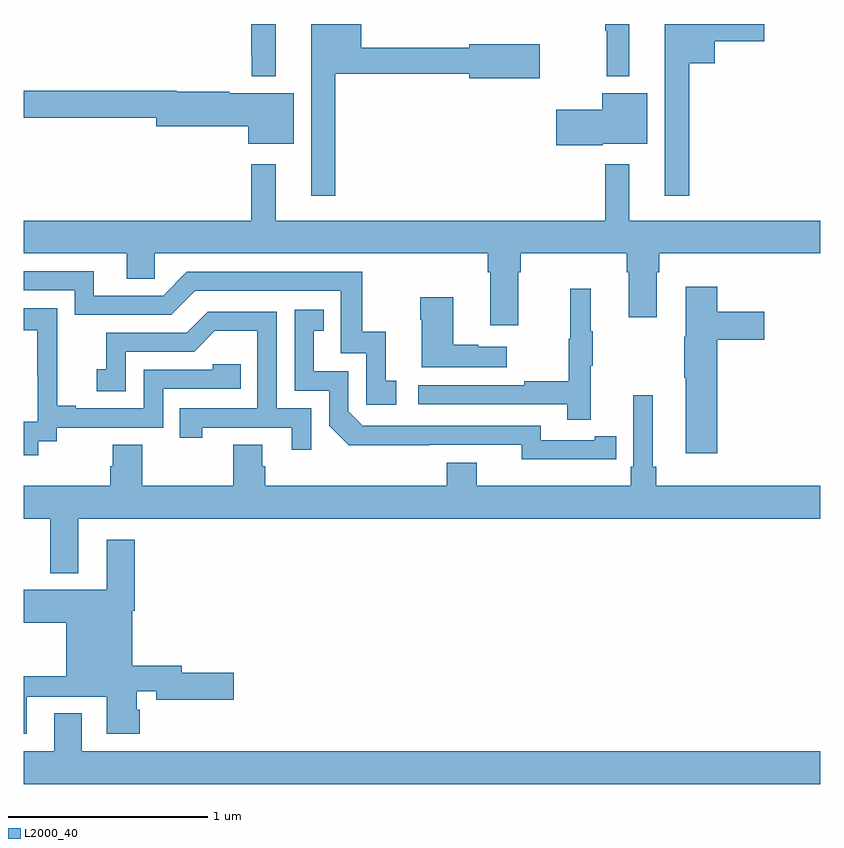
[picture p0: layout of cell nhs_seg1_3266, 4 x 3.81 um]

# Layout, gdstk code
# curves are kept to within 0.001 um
import gdstk
lib = gdstk.Library(unit=1e-6, precision=1e-09)
def P(c, l, *ps):  # polygons
    for p in ps: c.add(gdstk.Polygon(p, *l))
L2000_40 = (2000, 40)

nhs_seg1_3266 = lib.new_cell('nhs_seg1_3266')
P(nhs_seg1_3266, L2000_40, [(290.341,570.002),(290.47,570.002),(290.47,570.113),(290.719,570.113),(290.719,570.199),(290.219,570.199),(290.219,569.337),(290.341,569.337)],
  [(288.565,569.95),(289.238,569.95),(289.238,569.927),(289.591,569.927),(289.591,570.097),(289.238,570.097),(289.238,570.079),(288.694,570.079),(288.694,570.199),(288.443,570.199),(288.443,569.337),(288.565,569.337)],
  [(290.041,570.199),(289.92,570.199),(289.92,570.164),(289.927,570.164),(289.927,569.936),(290.041,569.936)],
  [(288.265,570.199),(288.144,570.199),(288.144,570.043),(288.145,570.043),(288.145,569.936),(288.265,569.936)],
  [(288.355,569.851),(288.032,569.851),(288.032,569.858),(287.77,569.858),(287.77,569.864),(287,569.864),(287,569.728),(287.666,569.728),(287.666,569.686),(288.128,569.686),(288.128,569.597),(288.355,569.597)],
  [(289.908,569.597),(290.131,569.597),(290.131,569.851),(289.904,569.851),(289.904,569.768),(289.674,569.768),(289.674,569.59),(289.908,569.59)],
  [(289.483,568.952),(289.496,568.952),(289.496,569.048),(290.027,569.048),(290.027,568.952),(290.039,568.952),(290.039,568.728),(290.179,568.728),(290.179,568.952),(290.192,568.952),(290.192,569.048),(291,569.048),(291,569.212),(290.041,569.212),(290.041,569.494),(289.92,569.494),(289.92,569.212),(288.265,569.212),(288.265,569.494),(288.144,569.494),(288.144,569.212),(287,569.212),(287,569.048),(287.519,569.048),(287.519,568.921),(287.658,568.921),(287.658,569.048),(289.331,569.048),(289.331,568.952),(289.343,568.952),(289.343,568.686),(289.483,568.686)],
  [(288.871,568.407),(288.818,568.407),(288.818,568.654),(288.7,568.654),(288.7,568.956),(287.82,568.956),(287.7,568.836),(287.353,568.836),(287.353,568.959),(287,568.959),(287,568.863),(287.256,568.863),(287.256,568.74),(287.742,568.74),(287.862,568.86),(288.591,568.86),(288.591,568.545),(288.72,568.545),(288.72,568.287),(288.871,568.287)],
  [(290.483,568.613),(290.719,568.613),(290.719,568.755),(290.483,568.755),(290.483,568.879),(290.324,568.879),(290.324,568.629),(290.317,568.629),(290.317,568.423),(290.324,568.423),(290.324,568.044),(290.483,568.044)],
  [(289.847,568.483),(289.858,568.483),(289.858,568.657),(289.847,568.657),(289.847,568.87),(289.744,568.87),(289.744,568.62),(289.737,568.62),(289.737,568.406),(289.513,568.406),(289.513,568.386),(288.981,568.386),(288.981,568.29),(289.729,568.29),(289.729,568.212),(289.847,568.212)],
  [(289.426,568.579),(289.283,568.579),(289.283,568.589),(289.156,568.589),(289.156,568.828),(288.991,568.828),(288.991,568.715),(288.998,568.715),(288.998,568.475),(289.426,568.475)],
  [(287.074,568.105),(287.166,568.105),(287.166,568.173),(287.7,568.173),(287.7,568.368),(288.089,568.368),(288.089,568.491),(287.949,568.491),(287.949,568.464),(287.604,568.464),(287.604,568.269),(287.263,568.269),(287.263,568.282),(287.168,568.282),(287.168,568.565),(287.169,568.565),(287.169,568.771),(287,568.771),(287,568.661),(287.069,568.661),(287.069,568.433),(287.07,568.433),(287.07,568.203),(287,568.203),(287,568.035),(287.074,568.035)],
  [(289.868,568.014),(289.976,568.014),(289.976,568.13),(289.868,568.13),(289.868,568.11),(289.596,568.11),(289.596,568.182),(288.702,568.182),(288.63,568.254),(288.63,568.455),(288.457,568.455),(288.457,568.659),(288.506,568.659),(288.506,568.765),(288.36,568.765),(288.36,568.359),(288.534,568.359),(288.534,568.182),(288.632,568.085),(289.5,568.086),(289.5,568.013)],
  [(288.444,568.269),(288.27,568.269),(288.27,568.755),(287.924,568.755),(287.819,568.65),(287.416,568.65),(287.416,568.465),(287.367,568.465),(287.367,568.356),(287.514,568.356),(287.514,568.554),(287.856,568.554),(287.96,568.658),(288.174,568.658),(288.174,568.269),(287.785,568.269),(287.785,568.122),(287.896,568.122),(287.896,568.173),(288.347,568.173),(288.347,568.062),(288.444,568.062)],
  [(287.275,567.716),(291,567.716),(291,567.88),(290.177,567.88),(290.177,567.976),(290.158,567.976),(290.158,568.336),(290.061,568.336),(290.061,567.976),(290.048,567.976),(290.048,567.88),(289.276,567.88),(289.276,567.997),(289.124,567.997),(289.124,567.88),(288.212,567.88),(288.212,567.978),(288.199,567.978),(288.199,568.088),(288.052,568.088),(288.052,567.88),(287.595,567.88),(287.595,568.088),(287.447,568.088),(287.447,567.978),(287.435,567.978),(287.435,567.88),(287,567.88),(287,567.716),(287.135,567.716),(287.135,567.443),(287.275,567.443)],
  [(287.017,566.823),(287.417,566.823),(287.417,566.637),(287.582,566.637),(287.582,566.757),(287.569,566.757),(287.569,566.85),(287.666,566.85),(287.666,566.807),(288.055,566.807),(288.055,566.942),(287.794,566.942),(287.794,566.978),(287.545,566.978),(287.545,567.254),(287.558,567.254),(287.558,567.61),(287.417,567.61),(287.417,567.358),(287,567.358),(287,567.194),(287.213,567.194),(287.213,566.924),(287,566.924),(287,566.637),(287.017,566.637)],
  [(291,566.548),(287.293,566.548),(287.293,566.738),(287.153,566.738),(287.153,566.548),(287,566.548),(287,566.384),(291,566.384)])

lib.write_gds('nhs_seg1_3266.gds')
